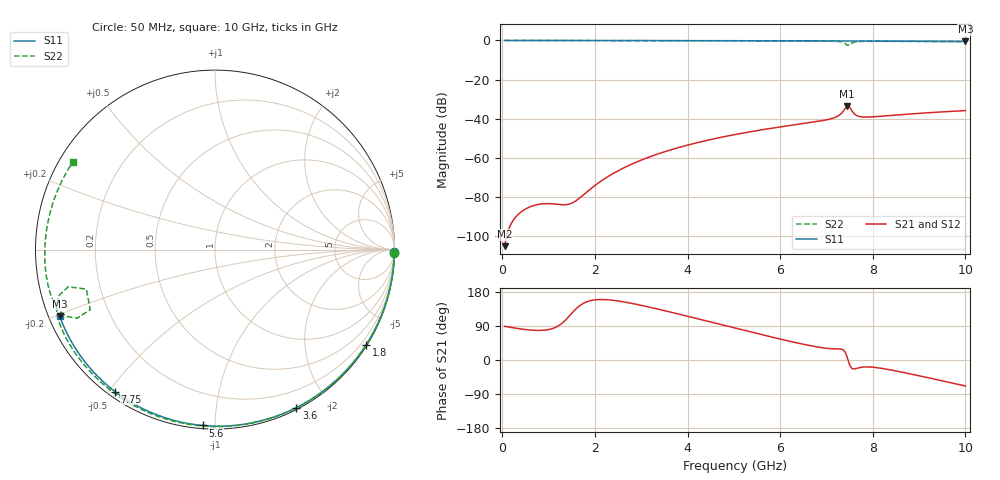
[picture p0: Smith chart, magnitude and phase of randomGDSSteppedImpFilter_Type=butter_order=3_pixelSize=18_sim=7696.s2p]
! freq	dB(S11)	phase(S11)	dB(S12)	phase(S12)
!  dB(S21)	phase(S21)	dB(S22)	phase(S22)
!S-par simulation data
#  GHz  S  DB  R 50
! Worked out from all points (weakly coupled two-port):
!   200 points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, 50 MHz to 10 GHz, reference 50 ohm
!   highest |S21| = -33.49 dB at 7.45 GHz (marker M1); lowest = -105.3 dB at 50 MHz (marker M2)
!   lowest |S11| = -0.5 dB at 10 GHz (marker M3), VSWR 33.16, Z = 1.57 - j10.2 ohm
!   |S11| at or under -10 dB: nowhere
!   |S22| runs from -2.5 to 0.0 dB; largest |S21 - S12| = 0
!   S11 on the Smith chart (normalised r, x): 50 MHz: open; 1.8 GHz: 0.03, -3.46; 3.6 GHz: 0.02, -1.64; 5.6 GHz: 0.02, -0.93; 7.75 GHz: 0.02, -0.52; 10 GHz: 0.03, -0.20
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0.05  -0.00 -0.9  -105.35 88.9  -105.35 88.9  -0.00 -1.2
0.85  -0.02 -15.4  -83.72 78.2  -83.72 78.2  -0.03 -20.7
1.7  -0.04 -30.5  -80.11 145.8  -80.11 145.8  -0.05 -40.9
1.75  -0.04 -31.3  -79.12 149.5  -79.12 149.5  -0.05 -42.0
1.8  -0.04 -32.2  -78.12 152.4  -78.12 152.4  -0.05 -43.2
2.15  -0.05 -38.3  -71.74 159.6  -71.74 159.6  -0.07 -51.3
2.5  -0.06 -44.3  -66.75 155.7  -66.75 155.7  -0.08 -59.2
3.4  -0.08 -59.4  -57.81 133.2  -57.81 133.2  -0.10 -79.0
3.6  -0.08 -62.7  -56.30 127.4  -56.30 127.4  -0.11 -83.2
5.05  -0.13 -85.7  -48.07 83.4  -48.07 83.4  -0.17 -113.0
5.6  -0.16 -94.0  -45.77 66.9  -45.77 66.9  -0.20 -123.8
6.7  -0.22 -110.2  -41.87 36.6  -41.87 36.6  -0.29 -145.8
7.2  -0.25 -117.3  -39.29 29.3  -39.29 29.3  -0.44 -157.8
7.35  -0.26 -119.5  -36.64 27.6  -36.64 27.6  -0.89 -163.7
7.45  -0.27 -120.9  -33.49 6.7  -33.49 6.7  -2.50 -162.9
7.5  -0.27 -121.6  -34.11 -13.4  -34.11 -13.4  -2.25 -154.3
7.55  -0.27 -122.3  -36.06 -22.7  -36.06 -22.7  -1.32 -153.5
7.65  -0.28 -123.7  -38.43 -22.1  -38.43 -22.1  -0.67 -157.8
7.75  -0.29 -125.1  -39.11 -19.2  -39.11 -19.2  -0.51 -161.3
8.35  -0.34 -133.6  -38.49 -25.4  -38.49 -25.4  -0.45 -175.5
9.2  -0.43 -145.5  -37.02 -46.9  -37.02 -46.9  -0.53 166.3
10  -0.52 -156.9  -35.92 -68.6  -35.92 -68.6  -0.63 148.2
